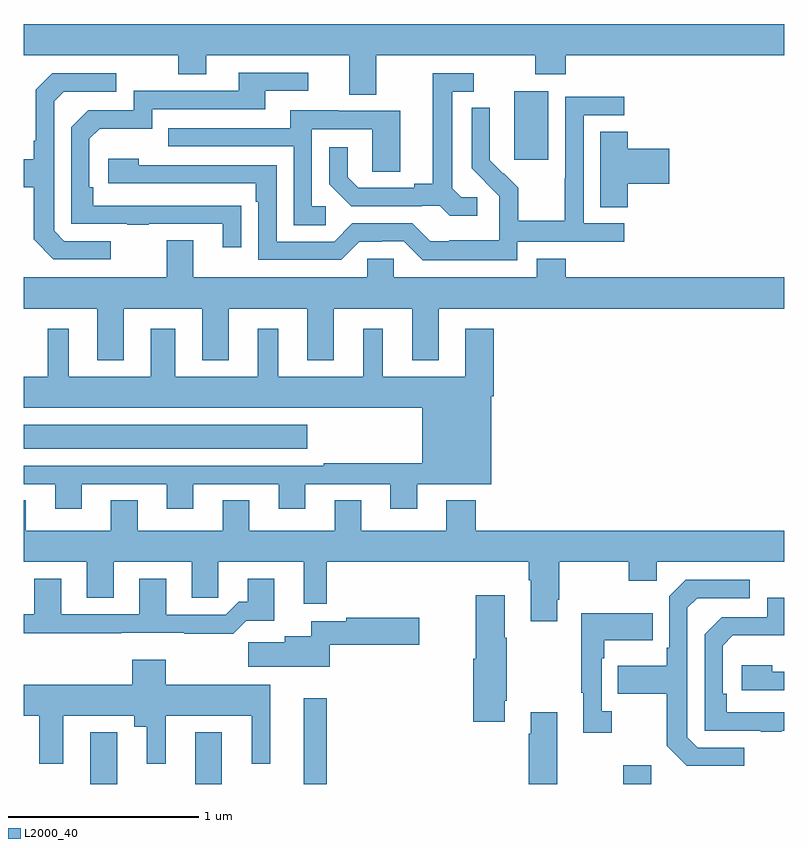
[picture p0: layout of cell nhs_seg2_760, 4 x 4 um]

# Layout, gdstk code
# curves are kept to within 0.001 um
import gdstk
lib = gdstk.Library(unit=1e-6, precision=1e-09)
def R(c, l, rs):  # rectangles x0, y0, x1, y1
    for r in rs: c.add(gdstk.rectangle(r[:2], r[2:], *l))
def P(c, l, *ps):  # polygons
    for p in ps: c.add(gdstk.Polygon(p, *l))
L2000_40 = (2000, 40)

nhs_seg2_760 = lib.new_cell('nhs_seg2_760')
R(nhs_seg2_760, L2000_40, [(149.351,647.8,149.491,648.073), (149.903,647.8,150.043,648.073), (150.473,647.8,150.595,648.25), (152.152,647.8,152.299,647.899), (149,649.562,150.49,649.69), (151.58,651.081,151.759,651.442)])
P(nhs_seg2_760, L2000_40, [(150.853,651.632),(151.69,651.632),(151.69,651.533),(151.85,651.533),(151.85,651.632),(153,651.632),(153,651.796),(149,651.796),(149,651.632),(149.812,651.632),(149.812,651.533),(149.959,651.533),(149.959,651.632),(150.713,651.632),(150.713,651.424),(150.853,651.424)],
  [(150.143,650.84),(149.366,650.841),(149.366,650.938),(149.346,650.938),(149.346,651.192),(149.399,651.245),(149.676,651.245),(149.676,651.348),(150.271,651.348),(150.271,651.444),(150.496,651.444),(150.496,651.54),(150.131,651.54),(150.131,651.444),(149.58,651.444),(149.58,651.342),(149.34,651.342),(149.25,651.252),(149.25,650.745),(149.545,650.745),(149.545,650.74),(149.657,650.74),(149.657,650.745),(150.047,650.745),(150.047,650.622),(150.143,650.622)],
  [(149.458,650.655),(149.214,650.655),(149.16,650.709),(149.16,651.39),(149.211,651.441),(149.488,651.441),(149.488,651.537),(149.151,651.537),(149.064,651.45),(149.064,651.181),(149.052,651.181),(149.052,651.085),(149,651.085),(149,650.938),(149.052,650.938),(149.052,650.665),(149.157,650.559),(149.458,650.559)],
  [(151.384,650.886),(151.302,650.886),(151.255,650.933),(151.255,651.441),(151.366,651.441),(151.366,651.537),(151.151,651.537),(151.151,650.957),(151.055,650.957),(151.055,650.934),(150.76,650.934),(150.703,650.991),(150.703,651.148),(150.606,651.148),(150.606,650.954),(150.722,650.838),(151.094,650.838),(151.094,650.841),(151.188,650.841),(151.24,650.789),(151.384,650.789)],
  [(151.596,650.652),(152.158,650.652),(152.158,650.748),(151.944,650.748),(151.944,651.315),(152.158,651.315),(152.158,651.414),(151.848,651.414),(151.848,650.984),(151.846,650.984),(151.846,650.761),(151.601,650.761),(151.601,650.935),(151.524,651.012),(151.521,651.009),(151.451,651.08),(151.452,651.356),(151.356,651.356),(151.356,651.038),(151.502,650.89),(151.502,650.793),(151.5,650.793),(151.5,650.659),(151.237,650.659),(151.237,650.655),(151.137,650.655),(151.044,650.748),(150.729,650.748),(150.633,650.652),(150.33,650.652),(150.33,651.054),(149.606,651.054),(149.606,651.088),(149.445,651.088),(149.445,650.958),(150.221,650.958),(150.221,650.861),(150.234,650.861),(150.234,650.556),(150.669,650.556),(150.765,650.652),(150.884,650.652),(150.884,650.655),(150.999,650.655),(151.099,650.555),(151.596,650.555)],
  [(150.589,650.838),(150.516,650.838),(150.516,651.243),(150.834,651.243),(150.834,651.019),(150.979,651.019),(150.979,651.339),(150.655,651.339),(150.655,651.343),(150.401,651.343),(150.401,651.249),(149.761,651.249),(149.761,651.153),(150.42,651.153),(150.42,650.737),(150.589,650.737)],
  [(152.177,650.957),(152.395,650.957),(152.395,651.14),(152.177,651.14),(152.177,651.23),(152.033,651.23),(152.033,650.833),(152.177,650.833)],
  [(149.527,650.3),(149.939,650.3),(149.939,650.027),(150.079,650.027),(150.079,650.3),(150.491,650.3),(150.491,650.027),(150.631,650.027),(150.631,650.3),(151.043,650.3),(151.043,650.027),(151.183,650.027),(151.183,650.3),(153,650.3),(153,650.464),(151.85,650.464),(151.85,650.563),(151.697,650.563),(151.697,650.464),(150.945,650.464),(150.945,650.562),(150.807,650.562),(150.807,650.464),(149.893,650.464),(149.893,650.659),(149.753,650.659),(149.753,650.464),(149,650.464),(149,650.3),(149.387,650.3),(149.387,650.027),(149.527,650.027)],
  [(149.305,649.377),(149.753,649.377),(149.753,649.248),(149.893,649.248),(149.893,649.377),(150.341,649.377),(150.341,649.248),(150.481,649.248),(150.481,649.377),(150.929,649.377),(150.929,649.248),(151.069,649.248),(151.069,649.376),(151.459,649.376),(151.459,649.838),(151.472,649.838),(151.472,650.194),(151.322,650.194),(151.322,649.942),(150.889,649.942),(150.889,650.194),(150.785,650.194),(150.785,649.942),(150.34,649.942),(150.34,650.194),(150.23,650.194),(150.23,649.942),(149.797,649.942),(149.797,650.194),(149.669,650.194),(149.669,649.942),(149.236,649.942),(149.236,650.194),(149.126,650.194),(149.126,649.942),(149,649.942),(149,649.778),(151.097,649.778),(151.097,649.486),(150.577,649.486),(150.577,649.473),(149,649.473),(149,649.377),(149.165,649.377),(149.165,649.248),(149.305,649.248)],
  [(151.223,649.291),(151.223,649.132),(150.775,649.132),(150.775,649.292),(150.635,649.292),(150.635,649.132),(150.187,649.132),(150.187,649.292),(150.047,649.292),(150.047,649.132),(149.599,649.132),(149.599,649.292),(149.459,649.292),(149.459,649.132),(149.011,649.132),(149.011,649.292),(149,649.292),(149,648.968),(149.333,648.968),(149.333,648.778),(149.473,648.778),(149.473,648.968),(149.885,648.968),(149.885,648.778),(150.024,648.778),(150.024,648.968),(150.473,648.968),(150.473,648.747),(150.595,648.747),(150.595,648.968),(151.655,648.968),(151.655,648.872),(151.667,648.872),(151.667,648.657),(151.807,648.657),(151.807,648.769),(151.815,648.769),(151.815,648.968),(152.182,648.968),(152.182,648.869),(152.328,648.869),(152.328,648.968),(153,648.968),(153,649.132),(151.376,649.132),(151.376,649.291)],
  [(150.17,648.659),(150.319,648.659),(150.319,648.88),(150.179,648.88),(150.179,648.757),(150.13,648.757),(150.063,648.69),(149.749,648.69),(149.749,648.88),(149.609,648.88),(149.609,648.693),(149.197,648.693),(149.197,648.88),(149.057,648.88),(149.057,648.693),(149,648.693),(149,648.592),(149.513,648.592),(149.513,648.596),(149.845,648.596),(149.845,648.59),(150.101,648.59)],
  [(152.788,647.991),(152.544,647.991),(152.49,648.045),(152.49,648.726),(152.541,648.777),(152.818,648.777),(152.818,648.873),(152.481,648.873),(152.394,648.786),(152.394,648.517),(152.382,648.517),(152.382,648.421),(152.125,648.421),(152.125,648.274),(152.382,648.274),(152.382,648.001),(152.487,647.895),(152.788,647.895)],
  [(151.531,648.238),(151.539,648.238),(151.539,648.569),(151.531,648.569),(151.531,648.793),(151.376,648.793),(151.376,648.459),(151.364,648.459),(151.364,648.126),(151.531,648.126)],
  [(152.987,648.081),(153,648.081),(153,648.177),(152.696,648.177),(152.696,648.274),(152.676,648.274),(152.676,648.528),(152.729,648.581),(153,648.581),(153,648.78),(152.91,648.78),(152.91,648.678),(152.67,648.678),(152.58,648.588),(152.58,648.081),(152.875,648.081),(152.875,648.076),(152.987,648.076)],
  [(152.092,648.182),(152.04,648.182),(152.04,648.461),(152.053,648.461),(152.053,648.557),(152.309,648.557),(152.309,648.697),(151.932,648.697),(151.932,648.281),(151.943,648.281),(151.943,648.069),(152.092,648.069)],
  [(150.609,648.533),(151.081,648.533),(151.081,648.675),(150.696,648.675),(150.696,648.655),(150.513,648.655),(150.513,648.577),(150.374,648.577),(150.374,648.545),(150.18,648.545),(150.18,648.416),(150.609,648.416)],
  [(149.209,648.158),(149.582,648.158),(149.582,648.101),(149.648,648.101),(149.648,647.907),(149.746,647.907),(149.746,648.158),(150.2,648.158),(150.2,647.907),(150.298,647.907),(150.298,648.322),(149.748,648.322),(149.748,648.454),(149.57,648.454),(149.57,648.322),(149,648.322),(149,648.158),(149.081,648.158),(149.081,647.907),(149.209,647.907)],
  [(153,648.39),(152.936,648.39),(152.936,648.424),(152.775,648.424),(152.775,648.294),(153,648.294)],
  [(151.807,648.178),(151.667,648.178),(151.667,648.065),(151.655,648.065),(151.655,647.8),(151.807,647.8)])

lib.write_gds('nhs_seg2_760.gds')
